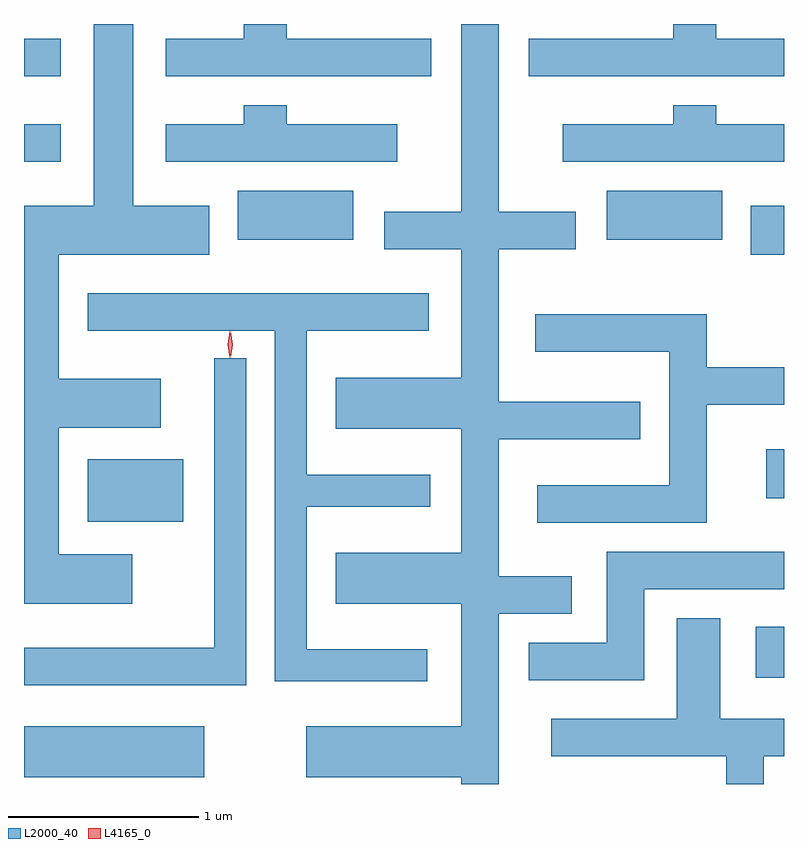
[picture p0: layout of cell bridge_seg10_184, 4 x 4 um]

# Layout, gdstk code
import gdstk
lib = gdstk.Library(unit=1e-6, precision=1e-09)
def R(c, l, rs):  # rectangles x0, y0, x1, y1
    for r in rs: c.add(gdstk.rectangle(r[:2], r[2:], *l))
def P(c, l, *ps):  # polygons
    for p in ps: c.add(gdstk.Polygon(p, *l))
L2000_40 = (2000, 40)
L4165_0 = (4165, 0)

bridge_seg10_184 = lib.new_cell('bridge_seg10_184')
R(bridge_seg10_184, L2000_40, [(1878.71,2139.966,1879.659,2140.234), (1882.561,2140.491,1882.71,2140.759), (1879.046,2141.311,1879.549,2141.639), (1882.616,2141.436,1882.71,2141.694), (1882.536,2142.716,1882.71,2142.974), (1879.836,2142.796,1880.444,2143.054), (1881.776,2142.796,1882.384,2143.054), (1878.71,2143.206,1878.904,2143.404), (1878.71,2143.656,1878.904,2143.854)])
P(bridge_seg10_184, L2000_40, [(1879.279,2141.139),(1878.894,2141.139),(1878.894,2141.806),(1879.429,2141.806),(1879.429,2142.064),(1878.894,2142.064),(1878.894,2142.716),(1879.684,2142.716),(1879.684,2142.974),(1879.284,2142.974),(1879.284,2143.931),(1879.076,2143.931),(1879.076,2142.974),(1878.71,2142.974),(1878.71,2140.881),(1879.279,2140.881)],
  [(1882.71,2143.854),(1882.354,2143.854),(1882.354,2143.931),(1882.126,2143.931),(1882.126,2143.854),(1881.366,2143.854),(1881.366,2143.656),(1882.71,2143.656)],
  [(1880.854,2143.854),(1880.094,2143.854),(1880.094,2143.931),(1879.866,2143.931),(1879.866,2143.854),(1879.456,2143.854),(1879.456,2143.656),(1880.854,2143.656)],
  [(1880.674,2143.404),(1880.094,2143.404),(1880.094,2143.504),(1879.866,2143.504),(1879.866,2143.404),(1879.456,2143.404),(1879.456,2143.206),(1880.674,2143.206)],
  [(1882.71,2143.404),(1882.354,2143.404),(1882.354,2143.504),(1882.126,2143.504),(1882.126,2143.404),(1881.546,2143.404),(1881.546,2143.206),(1882.71,2143.206)],
  [(1880.833,2140.639),(1880.199,2140.639),(1880.199,2141.391),(1880.848,2141.391),(1880.848,2141.559),(1880.199,2141.559),(1880.199,2142.316),(1880.839,2142.316),(1880.839,2142.514),(1879.046,2142.514),(1879.046,2142.316),(1880.031,2142.316),(1880.031,2140.471),(1880.833,2140.471)],
  [(1882.304,2141.926),(1882.71,2141.926),(1882.71,2142.124),(1882.304,2142.124),(1882.304,2142.404),(1881.401,2142.404),(1881.401,2142.206),(1882.106,2142.206),(1882.106,2141.504),(1881.411,2141.504),(1881.411,2141.306),(1882.304,2141.306)],
  [(1879.879,2142.173),(1879.711,2142.173),(1879.711,2140.649),(1878.71,2140.649),(1878.71,2140.451),(1879.879,2140.451)],
  [(1881.974,2140.956),(1882.71,2140.956),(1882.71,2141.154),(1881.776,2141.154),(1881.776,2140.674),(1881.366,2140.674),(1881.366,2140.476),(1881.974,2140.476)],
  [(1881.954,2141.746),(1881.954,2141.944),(1881.209,2141.944),(1881.209,2142.746),(1881.614,2142.746),(1881.614,2142.944),(1881.209,2142.944),(1881.209,2143.931),(1881.011,2143.931),(1881.011,2142.944),(1880.606,2142.944),(1880.606,2142.746),(1881.011,2142.746),(1881.011,2142.069),(1880.351,2142.069),(1880.351,2141.801),(1881.011,2141.801),(1881.011,2141.149),(1880.351,2141.149),(1880.351,2140.881),(1881.011,2140.881),(1881.011,2140.234),(1880.196,2140.234),(1880.196,2139.966),(1881.011,2139.966),(1881.011,2139.931),(1881.209,2139.931),(1881.209,2140.826),(1881.594,2140.826),(1881.594,2141.024),(1881.209,2141.024),(1881.209,2141.746)],
  [(1882.604,2140.076),(1882.71,2140.076),(1882.71,2140.274),(1882.374,2140.274),(1882.374,2140.804),(1882.146,2140.804),(1882.146,2140.274),(1881.486,2140.274),(1881.486,2140.076),(1882.406,2140.076),(1882.406,2139.931),(1882.604,2139.931)])
P(bridge_seg10_184, L4165_0, [(1879.797,2142.178),(1879.788,2142.244),(1879.798,2142.31),(1879.798,2142.311),(1879.798,2142.31),(1879.808,2142.244),(1879.798,2142.178),(1879.798,2142.178)],
  [(1879.792,2142.174),(1879.792,2142.175),(1879.782,2142.244),(1879.792,2142.313),(1879.792,2142.314),(1879.793,2142.313),(1879.802,2142.244),(1879.793,2142.175)])

lib.write_gds('bridge_seg10_184.gds')
